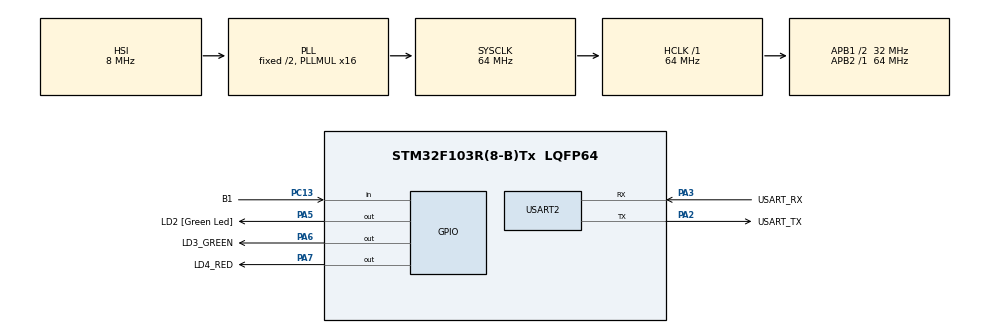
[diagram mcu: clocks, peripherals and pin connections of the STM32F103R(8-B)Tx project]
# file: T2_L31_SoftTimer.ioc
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Mcu.Family=STM32F1
Mcu.Name=STM32F103R(8-B)Tx
Mcu.Package=LQFP64
NVIC.PriorityGroup=NVIC_PRIORITYGROUP_4
PA13.GPIO_Label=TMS
PA13.Mode=Serial_Wire
PA13.Signal=SYS_JTMS-SWDIO
PA14.GPIO_Label=TCK
PA14.Mode=Serial_Wire
PA14.Signal=SYS_JTCK-SWCLK
PA2.GPIO_Label=USART_TX
PA2.GPIO_Mode=GPIO_MODE_AF_PP
PA2.GPIO_PuPd=GPIO_NOPULL
PA2.GPIO_Speed=GPIO_SPEED_FREQ_LOW
PA2.Mode=Asynchronous
PA2.Signal=USART2_TX
PA3.GPIO_Label=USART_RX
PA3.GPIO_Mode=GPIO_MODE_AF_PP
PA3.GPIO_PuPd=GPIO_NOPULL
PA3.GPIO_Speed=GPIO_SPEED_FREQ_LOW
PA3.Mode=Asynchronous
PA3.Signal=USART2_RX
PA5.GPIO_Label=LD2 [Green Led]
PA5.GPIO_ModeDefaultOutputPP=GPIO_MODE_OUTPUT_PP
PA5.GPIO_PuPd=GPIO_NOPULL
PA5.GPIO_Speed=GPIO_SPEED_FREQ_LOW
PA5.Signal=GPIO_Output
PA6.GPIO_Label=LD3_GREEN
PA6.Signal=GPIO_Output
PA7.GPIO_Label=LD4_RED
PA7.Signal=GPIO_Output
PB3.GPIO_Label=SWO
PB3.Signal=SYS_JTDO-TRACESWO
PC13-TAMPER-RTC.GPIO_Label=B1
PC13-TAMPER-RTC.Signal=GPIO_Input
PC14-OSC32_IN.Mode=LSE-External-Oscillator
PC14-OSC32_IN.Signal=RCC_OSC32_IN
PC15-OSC32_OUT.Mode=LSE-External-Oscillator
PC15-OSC32_OUT.Signal=RCC_OSC32_OUT
PD0-OSC_IN.Mode=HSE-External-Clock-Source
PD0-OSC_IN.Signal=RCC_OSC_IN
PD1-OSC_OUT.Mode=HSE-External-Clock-Source
PD1-OSC_OUT.Signal=RCC_OSC_OUT
ProjectManager.HeapSize=0x200
ProjectManager.StackSize=0x400
ProjectManager.TargetToolchain=STM32CubeIDE
RCC.AHBFreq_Value=64000000
RCC.APB1CLKDivider=RCC_HCLK_DIV2
RCC.APB1Freq_Value=32000000
RCC.APB1TimFreq_Value=64000000
RCC.APB2Freq_Value=64000000
RCC.APB2TimFreq_Value=64000000
RCC.HCLKFreq_Value=64000000
RCC.PLLMUL=RCC_PLL_MUL16
RCC.RTCClockSelection=RCC_RTCCLKSOURCE_LSE
RCC.SYSCLKFreq_VALUE=64000000
RCC.SYSCLKSource=RCC_SYSCLKSOURCE_PLLCLK
RCC.USBFreq_Value=64000000
USART2.VirtualMode=VM_ASYNC
board=NUCLEO-F103RB

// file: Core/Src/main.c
/* USER CODE BEGIN Header */
/**
  ******************************************************************************
  * @file           : main.c
  * @brief          : Main program body
  ******************************************************************************
  * @attention
  *
  * <h2><center>&copy; Copyright (c) 2021 STMicroelectronics.
  * All rights reserved.</center></h2>
  *
  * This software component is licensed by ST under BSD 3-Clause license,
  * the "License"; You may not use this file except in compliance with the
  * License. You may obtain a copy of the License at:
  *                        opensource.org/licenses/BSD-3-Clause
  *
  ******************************************************************************
  */
/* USER CODE END Header */
#include "main.h"
#include "usart.h"
#include "gpio.h"

/* USER CODE BEGIN PV */
uint32_t TimerLED2;
uint32_t TimerLED3;
uint32_t TimerLED4;
/* USER CODE END PV */

void SystemClock_Config(void);

int main(void)
{

  /* MCU Configuration--------------------------------------------------------*/

  /* Reset of all peripherals, Initializes the Flash interface and the Systick. */
  HAL_Init();

  /* Configure the system clock */
  SystemClock_Config();

  /* Initialize all configured peripherals */
  MX_GPIO_Init();
  MX_USART2_UART_Init();
  /* USER CODE BEGIN 2 */
  TimerLED2 = HAL_GetTick();
  TimerLED3 = HAL_GetTick();
  TimerLED4 = HAL_GetTick();
  /* USER CODE END 2 */

  /* Infinite loop */
  /* USER CODE BEGIN WHILE */
  while (1)
  {
	  if((HAL_GetTick() - TimerLED2) > 500)
	  {
		  TimerLED2 = HAL_GetTick();
		  HAL_GPIO_TogglePin(LD2_GPIO_Port,LD2_Pin);
	  }

	  if((HAL_GetTick() - TimerLED3) > 250)
	  {
		  TimerLED3 = HAL_GetTick();
		  HAL_GPIO_TogglePin(LD3_GREEN_GPIO_Port,LD3_GREEN_Pin);
	  }

	  if((HAL_GetTick() - TimerLED4) > 100)
	  {
		  TimerLED4 = HAL_GetTick();
		  HAL_GPIO_TogglePin(LD4_RED_GPIO_Port,LD4_RED_Pin);
	  }
    /* USER CODE END WHILE */

  }
}

void SystemClock_Config(void)
{
  RCC_OscInitTypeDef RCC_OscInitStruct = {0};
  RCC_ClkInitTypeDef RCC_ClkInitStruct = {0};

  /** Initializes the RCC Oscillators according to the specified parameters
  * in the RCC_OscInitTypeDef structure.
  */
  RCC_OscInitStruct.OscillatorType = RCC_OSCILLATORTYPE_HSI;
  RCC_OscInitStruct.HSIState = RCC_HSI_ON;
  RCC_OscInitStruct.HSICalibrationValue = RCC_HSICALIBRATION_DEFAULT;
  RCC_OscInitStruct.PLL.PLLState = RCC_PLL_ON;
  RCC_OscInitStruct.PLL.PLLSource = RCC_PLLSOURCE_HSI_DIV2;
  RCC_OscInitStruct.PLL.PLLMUL = RCC_PLL_MUL16;
  if (HAL_RCC_OscConfig(&RCC_OscInitStruct) != HAL_OK)
  {
    Error_Handler();
  }
  /** Initializes the CPU, AHB and APB buses clocks
  */
  RCC_ClkInitStruct.ClockType = RCC_CLOCKTYPE_HCLK|RCC_CLOCKTYPE_SYSCLK
                              |RCC_CLOCKTYPE_PCLK1|RCC_CLOCKTYPE_PCLK2;
  RCC_ClkInitStruct.SYSCLKSource = RCC_SYSCLKSOURCE_PLLCLK;
  RCC_ClkInitStruct.AHBCLKDivider = RCC_SYSCLK_DIV1;
  RCC_ClkInitStruct.APB1CLKDivider = RCC_HCLK_DIV2;
  RCC_ClkInitStruct.APB2CLKDivider = RCC_HCLK_DIV1;

  if (HAL_RCC_ClockConfig(&RCC_ClkInitStruct, FLASH_LATENCY_2) != HAL_OK)
  {
    Error_Handler();
  }
}

void Error_Handler(void)
{
  __disable_irq();
  while (1)
  {
  }
}

/************************ (C) COPYRIGHT STMicroelectronics *****END OF FILE****/
